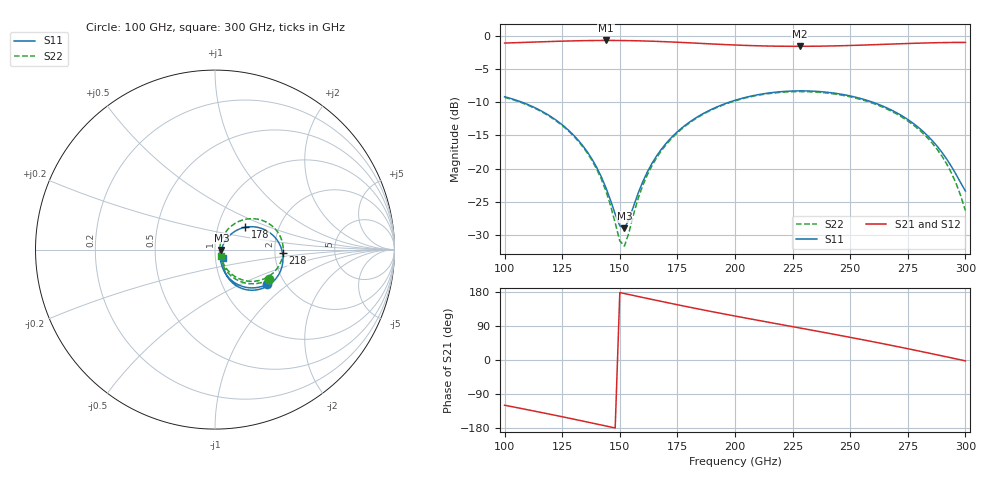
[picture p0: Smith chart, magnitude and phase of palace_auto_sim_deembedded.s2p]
! Created with skrf 1.11.0 (http://scikit-rf.org).
# GHz S DB R 50.0
!freq dBS11 angS11 dBS21 angS21 dBS12 angS12 dBS22 angS22
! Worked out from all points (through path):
!   101 points, 100 GHz to 300 GHz, reference 50 ohm
!   highest |S21| = -0.71 dB at 144 GHz (marker M1); lowest = -1.6 dB at 228 GHz (marker M2)
!   group delay of S21, straight-line fit = 3.34 ps
!   lowest |S11| = -29.0 dB at 152 GHz (marker M3), VSWR 1.07, Z = 53.7 - j0.28 ohm
!   |S11| at or under -10 dB: 107.5 GHz to 197.5 GHz (89.98 GHz wide, 59 % of centre); 259.8 GHz to end of sweep
!   |S22| runs from -31.7 to -8.4 dB; largest |S21 - S12| = 9.7e-14
!   S11 on the Smith chart (normalised r, x): 100 GHz: 1.62, -0.71; 178 GHz: 1.35, +0.35; 218 GHz: 2.20, -0.11; 300 GHz: 1.09, -0.11
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100  -9.18 -33.9  -1.09 -119.4  -1.09 -119.4  -9.26 -28.6
120  -12.15 -54.7  -0.86 -143.5  -0.86 -143.5  -12.24 -48.9
134  -16.58 -66.2  -0.74 -161.2  -0.74 -161.2  -16.73 -61.1
140  -19.83 -67.2  -0.71 -169.0  -0.71 -169.0  -20.09 -63.4
144  -22.89 -63.0  -0.71 -174.2  -0.71 -174.2  -23.38 -60.9
150  -28.60 -28.5  -0.71 178.0  -0.71 178.0  -30.87 -26.3
152  -28.97 -4.2  -0.72 175.4  -0.72 175.4  -31.67 6.6
154  -27.63 17.0  -0.73 172.8  -0.73 172.8  -29.57 34.0
160  -21.94 41.5  -0.78 165.0  -0.78 165.0  -22.49 57.6
168  -17.10 43.3  -0.87 154.7  -0.87 154.7  -17.33 57.3
178  -13.57 36.4  -1.02 142.2  -1.02 142.2  -13.70 49.7
188  -11.38 27.2  -1.20 130.0  -1.20 130.0  -11.47 40.2
200  -9.72 15.3  -1.39 116.0  -1.39 116.0  -9.79 28.2
218  -8.48 -3.1  -1.56 95.8  -1.56 95.8  -8.57 10.0
228  -8.29 -13.4  -1.59 84.7  -1.59 84.7  -8.40 -0.2
234  -8.34 -19.5  -1.57 78.0  -1.57 78.0  -8.45 -6.2
252  -9.21 -37.8  -1.44 57.5  -1.44 57.5  -9.35 -24.6
268  -11.20 -53.4  -1.25 38.4  -1.25 38.4  -11.37 -40.9
280  -13.91 -63.0  -1.11 23.5  -1.11 23.5  -14.17 -52.3
288  -16.73 -66.1  -1.04 13.3  -1.04 13.3  -17.21 -58.2
294  -19.71 -63.0  -1.01 5.5  -1.01 5.5  -20.70 -59.1
300  -23.37 -46.7  -1.00 -2.3  -1.00 -2.3  -26.29 -47.5
